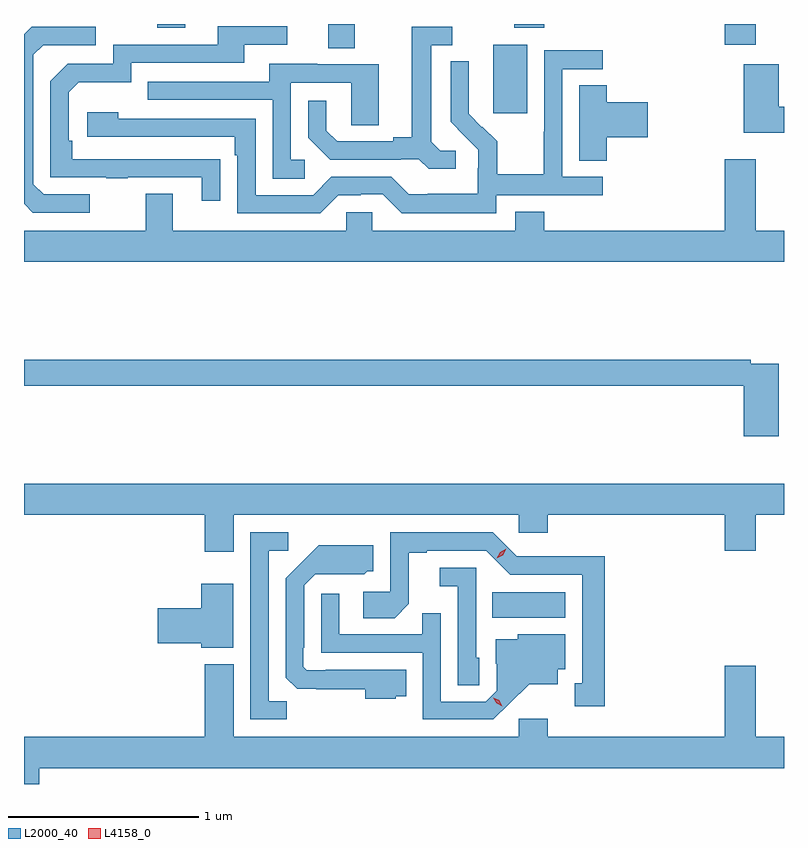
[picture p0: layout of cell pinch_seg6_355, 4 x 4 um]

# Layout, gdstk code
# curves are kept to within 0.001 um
import gdstk
lib = gdstk.Library(unit=1e-6, precision=1e-09)
def R(c, l, rs):  # rectangles x0, y0, x1, y1
    for r in rs: c.add(gdstk.rectangle(r[:2], r[2:], *l))
def P(c, l, *ps):  # polygons
    for p in ps: c.add(gdstk.Polygon(p, *l))
L2000_40 = (2000, 40)
L4158_0 = (4158, 0)

pinch_seg6_355 = lib.new_cell('pinch_seg6_355')
R(pinch_seg6_355, L2000_40, [(691.258,949.46,691.642,949.594), (691.262,952.113,691.441,952.474), (690.395,952.456,690.535,952.584), (692.48,952.476,692.644,952.584), (689.494,952.565,689.641,952.584), (691.372,952.565,691.532,952.584)])
P(pinch_seg6_355, L2000_40, [(689.825,951.872),(689.048,951.873),(689.048,951.97),(689.028,951.97),(689.028,952.224),(689.081,952.277),(689.358,952.277),(689.358,952.38),(689.953,952.38),(689.953,952.476),(690.178,952.476),(690.178,952.572),(689.813,952.572),(689.813,952.476),(689.262,952.476),(689.262,952.374),(689.022,952.374),(688.932,952.284),(688.932,951.777),(689.227,951.777),(689.227,951.772),(689.339,951.772),(689.339,951.777),(689.729,951.777),(689.729,951.654),(689.825,951.654)],
  [(691.066,951.918),(690.984,951.918),(690.937,951.965),(690.937,952.473),(691.048,952.473),(691.048,952.569),(690.833,952.569),(690.833,951.989),(690.737,951.989),(690.737,951.966),(690.442,951.966),(690.385,952.023),(690.385,952.18),(690.288,952.18),(690.288,951.986),(690.404,951.87),(690.776,951.87),(690.776,951.873),(690.87,951.873),(690.922,951.821),(691.066,951.821)],
  [(689.14,951.687),(688.896,951.687),(688.842,951.741),(688.842,952.422),(688.893,952.473),(689.17,952.473),(689.17,952.569),(688.833,952.569),(688.793,952.529),(688.793,951.637),(688.839,951.591),(689.14,951.591)],
  [(691.278,951.684),(691.84,951.684),(691.84,951.78),(691.626,951.78),(691.626,952.347),(691.84,952.347),(691.84,952.446),(691.53,952.446),(691.53,952.016),(691.528,952.016),(691.528,951.793),(691.283,951.793),(691.283,951.967),(691.206,952.044),(691.203,952.041),(691.133,952.112),(691.134,952.388),(691.038,952.388),(691.038,952.07),(691.184,951.922),(691.184,951.825),(691.182,951.825),(691.182,951.691),(690.919,951.691),(690.919,951.687),(690.819,951.687),(690.726,951.78),(690.411,951.78),(690.315,951.684),(690.012,951.684),(690.012,952.086),(689.288,952.086),(689.288,952.12),(689.127,952.12),(689.127,951.99),(689.903,951.99),(689.903,951.893),(689.916,951.893),(689.916,951.588),(690.351,951.588),(690.447,951.684),(690.566,951.684),(690.566,951.687),(690.681,951.687),(690.781,951.587),(691.278,951.587)],
  [(690.271,951.87),(690.198,951.87),(690.198,952.275),(690.516,952.275),(690.516,952.051),(690.661,952.051),(690.661,952.371),(690.337,952.371),(690.337,952.375),(690.083,952.375),(690.083,952.281),(689.443,952.281),(689.443,952.185),(690.102,952.185),(690.102,951.769),(690.271,951.769)],
  [(692.793,952.148),(692.765,952.148),(692.765,952.372),(692.582,952.372),(692.582,952.012),(692.793,952.012)],
  [(691.859,951.989),(692.077,951.989),(692.077,952.172),(691.859,952.172),(691.859,952.262),(691.715,952.262),(691.715,951.865),(691.859,951.865)],
  [(692.793,951.496),(692.644,951.496),(692.644,951.871),(692.48,951.871),(692.48,951.496),(691.532,951.496),(691.532,951.595),(691.379,951.595),(691.379,951.496),(690.627,951.496),(690.627,951.594),(690.489,951.594),(690.489,951.496),(689.575,951.496),(689.575,951.691),(689.435,951.691),(689.435,951.496),(688.793,951.496),(688.793,951.332),(692.793,951.332)],
  [(692.765,950.796),(692.618,950.796),(692.618,950.816),(688.793,950.816),(688.793,950.68),(692.582,950.68),(692.582,950.415),(692.765,950.415)],
  [(689.896,950),(691.398,950),(691.398,949.907),(691.55,949.907),(691.55,950),(692.48,950),(692.48,949.812),(692.644,949.812),(692.644,950),(692.793,950),(692.793,950.164),(688.793,950.164),(688.793,950),(689.744,950),(689.744,949.806),(689.896,949.806)],
  [(690.177,949.019),(690.081,949.019),(690.081,949.812),(690.184,949.812),(690.184,949.908),(689.985,949.908),(689.985,948.924),(690.177,948.924)],
  [(691.849,949.784),(691.608,949.784),(691.608,949.782),(691.386,949.782),(691.26,949.908),(690.72,949.908),(690.72,949.596),(690.579,949.596),(690.579,949.456),(690.743,949.456),(690.819,949.532),(690.819,949.8),(690.913,949.8),(690.913,949.812),(691.227,949.812),(691.353,949.686),(691.73,949.686),(691.73,949.113),(691.691,949.113),(691.691,948.993),(691.849,948.993)],
  [(690.75,949.046),(690.806,949.046),(690.806,949.185),(690.382,949.185),(690.382,949.182),(690.282,949.182),(690.264,949.2),(690.264,949.3),(690.267,949.3),(690.267,949.629),(690.327,949.689),(690.584,949.688),(690.6,949.704),(690.631,949.704),(690.631,949.84),(690.343,949.84),(690.171,949.666),(690.171,949.144),(690.23,949.085),(690.589,949.084),(690.589,949.034),(690.75,949.034)],
  [(691.188,949.248),(691.173,949.248),(691.173,949.722),(690.981,949.722),(690.981,949.625),(691.077,949.625),(691.077,949.105),(691.188,949.105)],
  [(689.893,949.639),(689.726,949.639),(689.726,949.508),(689.496,949.508),(689.496,949.325),(689.726,949.325),(689.726,949.301),(689.893,949.301)],
  [(691.348,949.007),(691.451,949.109),(691.603,949.109),(691.603,949.188),(691.642,949.188),(691.642,949.372),(691.392,949.372),(691.392,949.345),(691.277,949.345),(691.277,949.216),(691.281,949.216),(691.281,949.074),(691.224,949.017),(690.987,949.017),(690.987,949.484),(690.889,949.484),(690.889,949.371),(690.453,949.371),(690.453,949.585),(690.357,949.585),(690.357,949.275),(690.891,949.275),(690.891,948.924),(691.264,948.924)],
  [(688.873,948.668),(692.793,948.668),(692.793,948.832),(692.644,948.832),(692.644,949.207),(692.48,949.207),(692.48,948.832),(691.55,948.832),(691.55,948.928),(691.398,948.928),(691.398,948.832),(689.896,948.832),(689.896,949.213),(689.744,949.213),(689.744,948.832),(688.793,948.832),(688.793,948.584),(688.873,948.584)])
P(pinch_seg6_355, L4158_0, [(691.282,949.771),(691.282,949.771),(691.3,949.803),(691.332,949.821),(691.332,949.821),(691.332,949.821),(691.314,949.789),(691.282,949.771)],
  [(691.31,948.994),(691.28,949.009),(691.263,949.039),(691.263,949.039),(691.263,949.039),(691.293,949.024),(691.311,948.994),(691.311,948.994)])

lib.write_gds('pinch_seg6_355.gds')
